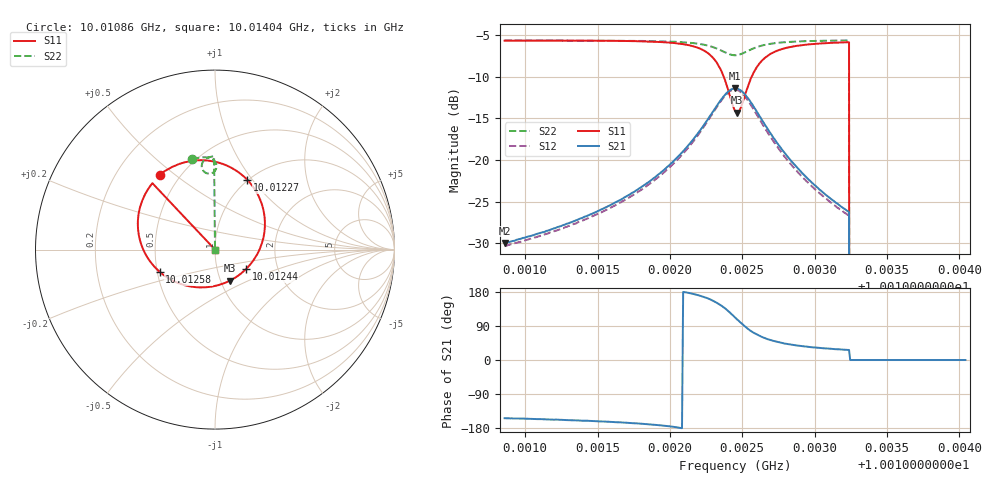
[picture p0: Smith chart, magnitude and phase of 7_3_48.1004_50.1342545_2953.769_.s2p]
#  HZ  S  RI  R  50.00
! Rohde & Schwarz Vector Network Analyzer
! Rohde-Schwarz,ZNB20-2Port,1311601062101988,3.16
! Created: UTC 12/23/2023, 3:35:17 AM
! freq[Hz]  re:S11  im:S11  re:S21  im:S21  re:S12  im:S12  re:S22  im:S22
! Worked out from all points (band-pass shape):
!   401 points, 10.01086 GHz to 10.01404 GHz, reference 50 ohm
!   highest |S21| = -11.42 dB at 10.01245 GHz (marker M1); lowest = -30.0 dB at 10.01086 GHz (marker M2)
!   |S21| within 3 dB of the highest: 10.01229 GHz to 10.01261 GHz (319.3 kHz wide, 0.00319 % of centre)
!   lowest |S11| = -14.3 dB at 10.01247 GHz (marker M3), VSWR 1.48, Z = 55.4 - j19.9 ohm
!   |S11| at or under -10 dB: 10.01237 GHz to 10.01257 GHz (194.6 kHz wide, 0.00194 % of centre); 10.01324 GHz to end of sweep
!   |S22| runs from - to -5.7 dB; largest |S21 - S12| = 0.013
!   S11 on the Smith chart (normalised r, x): 10.01086 GHz: 0.39, +0.44; 10.01227 GHz: 0.99, +0.94; 10.01244 GHz: 1.37, -0.31; 10.01258 GHz: 0.51, -0.14; 10.01404 GHz: 1.00, +0.00
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1.0010858e10  -0.3088 0.4176  -0.0284 -0.0141  -0.0264 -0.0151  -0.1267 0.5044
1.0011391e10  -0.2501 0.4549  -0.0421 -0.0152  -0.0397 -0.0169  -0.0887 0.512
1.0011678e10  -0.1983 0.4775  -0.0569 -0.0153  -0.054 -0.0174  -0.0658 0.5142
1.0011925e10  -0.1208 0.4955  -0.0815 -0.0114  -0.078 -0.0153  -0.0421 0.5134
1.0012155e10  0.0323 0.481  -0.1303 0.0116  -0.127 0.00431  -0.0125 0.5025
1.0012275e10  0.1796 0.3888  -0.1718 0.0608  -0.1711 0.0496  0.00488 0.4818
1.0012323e10  0.2423 0.2992  -0.184 0.1005  -0.1863 0.09  0.00842 0.4662
1.001237e10  0.2781 0.1528  -0.1818 0.1568  -0.1859 0.1463  0.00462 0.4466
1.0012402e10  0.2617 0.0363  -0.1628 0.1982  -0.1683 0.1894  -0.00513 0.4338
1.0012442e10  0.1721 -0.1095  -0.1144 0.2422  -0.1206 0.2348  -0.0249 0.4239
1.001245e10  0.1453 -0.1331  -0.1021 0.2483  -0.1073 0.2414  -0.0299 0.4233
1.0012466e10  0.084 -0.1727  -0.0761 0.2564  -0.081 0.2496  -0.0389 0.4236
1.0012514e10  -0.1094 -0.2092  -0.00147 0.2504  -0.00613 0.2431  -0.0618 0.4353
1.0012577e10  -0.3089 -0.1233  0.0641 0.1995  0.0563 0.1937  -0.0738 0.4607
1.0012633e10  -0.3911 -0.0181  0.0841 0.1538  0.0765 0.1492  -0.0718 0.4792
1.0012705e10  -0.4264 0.094  0.0875 0.11  0.0799 0.1073  -0.0634 0.4945
1.0012824e10  -0.4225 0.2154  0.0765 0.0673  0.0702 0.067  -0.0474 0.5081
1.0012983e10  -0.3929 0.3014  0.0606 0.0402  0.0558 0.0407  -0.029 0.5159
1.0013222e10  -0.351 0.3669  0.0444 0.0224  0.0411 0.0234  -0.00653 0.5204
1.0013262e10  0 0  0 0  0 0  0 0
1.0013517e10  0 0  0 0  0 0  0 0
1.0014042e10  0 0  0 0  0 0  0 0
